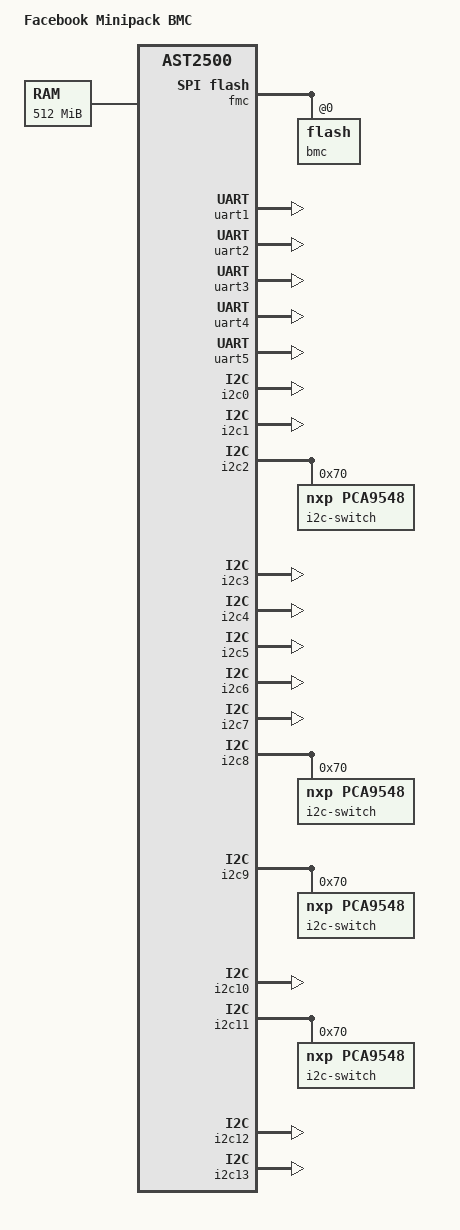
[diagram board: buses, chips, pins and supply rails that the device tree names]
// SPDX-License-Identifier: GPL-2.0+
// Copyright (c) 2018 Facebook Inc.
/dts-v1/;

#include "aspeed-g5.dtsi"

/ {
	model = "Facebook Minipack BMC";
	compatible = "facebook,minipack-bmc", "aspeed,ast2500";

	aliases {
		/*
		 * Override the default serial aliases to avoid breaking
		 * the legacy applications.
		 */
		serial0 = &uart5;
		serial1 = &uart1;
		serial2 = &uart2;
		serial3 = &uart3;
		serial4 = &uart4;

		/*
		 * Hardcode the bus number of i2c switches' channels to
		 * avoid breaking the legacy applications.
		 */
		i2c16 = &imux16;
		i2c17 = &imux17;
		i2c18 = &imux18;
		i2c19 = &imux19;
		i2c20 = &imux20;
		i2c21 = &imux21;
		i2c22 = &imux22;
		i2c23 = &imux23;
		i2c24 = &imux24;
		i2c25 = &imux25;
		i2c26 = &imux26;
		i2c27 = &imux27;
		i2c28 = &imux28;
		i2c29 = &imux29;
		i2c30 = &imux30;
		i2c31 = &imux31;
		i2c32 = &imux32;
		i2c33 = &imux33;
		i2c34 = &imux34;
		i2c35 = &imux35;
		i2c36 = &imux36;
		i2c37 = &imux37;
		i2c38 = &imux38;
		i2c39 = &imux39;
		i2c40 = &imux40;
		i2c41 = &imux41;
		i2c42 = &imux42;
		i2c43 = &imux43;
		i2c44 = &imux44;
		i2c45 = &imux45;
		i2c46 = &imux46;
		i2c47 = &imux47;
	};

	chosen {
		stdout-path = &uart1;
		bootargs = "debug console=ttyS1,9600n8 root=/dev/ram rw";
	};

	memory@80000000 {
		reg = <0x80000000 0x20000000>;
	};
};

&fmc {
	status = "okay";
	flash@0 {
		status = "okay";
		m25p,fast-read;
		label = "bmc";
#include "facebook-bmc-flash-layout.dtsi"
	};
};

&uart1 {
	status = "okay";
};

&uart2 {
	status = "okay";
};

&uart3 {
	status = "okay";
};

&uart4 {
	status = "okay";
};

&uart5 {
	status = "okay";
};

&i2c0 {
	status = "okay";
};

&i2c1 {
	status = "okay";
};

&i2c2 {
	status = "okay";

	i2c-switch@70 {
		compatible = "nxp,pca9548";
		#address-cells = <1>;
		#size-cells = <0>;
		reg = <0x70>;

		imux16: i2c@0 {
			#address-cells = <1>;
			#size-cells = <0>;
			reg = <0>;
		};

		imux17: i2c@1 {
			#address-cells = <1>;
			#size-cells = <0>;
			reg = <1>;
		};

		imux18: i2c@2 {
			#address-cells = <1>;
			#size-cells = <0>;
			reg = <2>;
		};

		imux19: i2c@3 {
			#address-cells = <1>;
			#size-cells = <0>;
			reg = <3>;
		};

		imux20: i2c@4 {
			#address-cells = <1>;
			#size-cells = <0>;
			reg = <4>;
		};

		imux21: i2c@5 {
			#address-cells = <1>;
			#size-cells = <0>;
			reg = <5>;
		};

		imux22: i2c@6 {
			#address-cells = <1>;
			#size-cells = <0>;
			reg = <6>;
		};

		imux23: i2c@7 {
			#address-cells = <1>;
			#size-cells = <0>;
			reg = <7>;
		};
	};
};

&i2c3 {
	status = "okay";
};

&i2c4 {
	status = "okay";
};

&i2c5 {
	status = "okay";
};

&i2c6 {
	status = "okay";
};

&i2c7 {
	status = "okay";
};

&i2c8 {
	status = "okay";

	i2c-switch@70 {
		compatible = "nxp,pca9548";
		#address-cells = <1>;
		#size-cells = <0>;
		reg = <0x70>;

		imux24: i2c@0 {
			#address-cells = <1>;
			#size-cells = <0>;
			reg = <0>;
		};

		imux25: i2c@1 {
			#address-cells = <1>;
			#size-cells = <0>;
			reg = <1>;
		};

		imux26: i2c@2 {
			#address-cells = <1>;
			#size-cells = <0>;
			reg = <2>;
		};

		imux27: i2c@3 {
			#address-cells = <1>;
			#size-cells = <0>;
			reg = <3>;
		};

		imux28: i2c@4 {
			#address-cells = <1>;
			#size-cells = <0>;
			reg = <4>;
		};

		imux29: i2c@5 {
			#address-cells = <1>;
			#size-cells = <0>;
			reg = <5>;
		};

		imux30: i2c@6 {
			#address-cells = <1>;
			#size-cells = <0>;
			reg = <6>;
		};

		imux31: i2c@7 {
			#address-cells = <1>;
			#size-cells = <0>;
			reg = <7>;
		};
	};
};

&i2c9 {
	status = "okay";

	i2c-switch@70 {
		compatible = "nxp,pca9548";
		#address-cells = <1>;
		#size-cells = <0>;
		reg = <0x70>;

		imux32: i2c@0 {
			#address-cells = <1>;
			#size-cells = <0>;
			reg = <0>;
		};

		imux33: i2c@1 {
			#address-cells = <1>;
			#size-cells = <0>;
			reg = <1>;
		};

		imux34: i2c@2 {
			#address-cells = <1>;
			#size-cells = <0>;
			reg = <2>;
		};

		imux35: i2c@3 {
			#address-cells = <1>;
			#size-cells = <0>;
			reg = <3>;
		};

		imux36: i2c@4 {
			#address-cells = <1>;
			#size-cells = <0>;
			reg = <4>;
		};

		imux37: i2c@5 {
			#address-cells = <1>;
			#size-cells = <0>;
			reg = <5>;
		};

		imux38: i2c@6 {
			#address-cells = <1>;
			#size-cells = <0>;
			reg = <6>;
		};

		imux39: i2c@7 {
			#address-cells = <1>;
			#size-cells = <0>;
			reg = <7>;
		};
	};
};

&i2c10 {
	status = "okay";
};

&i2c11 {
	status = "okay";

	i2c-switch@70 {
		compatible = "nxp,pca9548";
		#address-cells = <1>;
		#size-cells = <0>;
		reg = <0x70>;

		imux40: i2c@0 {
			#address-cells = <1>;
			#size-cells = <0>;
			reg = <0>;
		};

		imux41: i2c@1 {
			#address-cells = <1>;
			#size-cells = <0>;
			reg = <1>;
		};

		imux42: i2c@2 {
			#address-cells = <1>;
			#size-cells = <0>;
			reg = <2>;
		};

		imux43: i2c@3 {
			#address-cells = <1>;
			#size-cells = <0>;
			reg = <3>;
		};

		imux44: i2c@4 {
			#address-cells = <1>;
			#size-cells = <0>;
			reg = <4>;
		};

		imux45: i2c@5 {
			#address-cells = <1>;
			#size-cells = <0>;
			reg = <5>;
		};

		imux46: i2c@6 {
			#address-cells = <1>;
			#size-cells = <0>;
			reg = <6>;
		};

		imux47: i2c@7 {
			#address-cells = <1>;
			#size-cells = <0>;
			reg = <7>;
		};
	};
};

&i2c12 {
	status = "okay";
};

&i2c13 {
	status = "okay";
};
